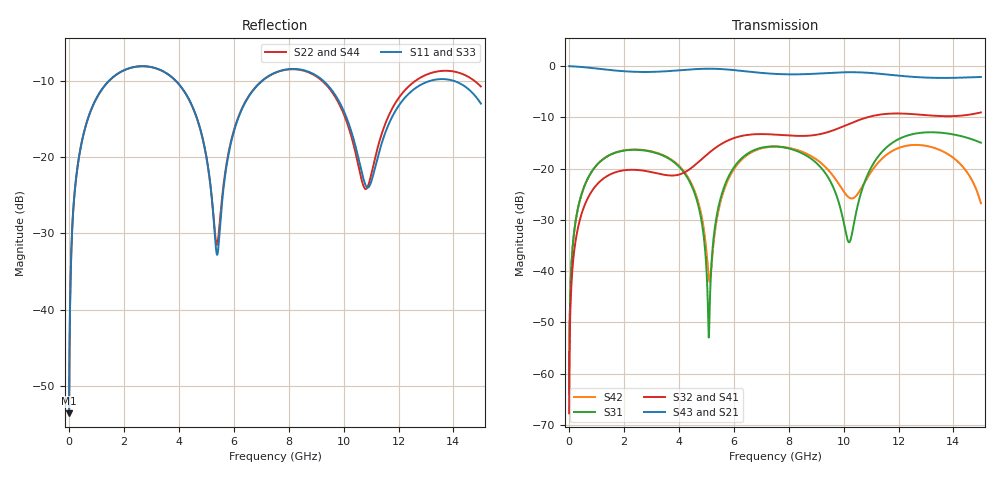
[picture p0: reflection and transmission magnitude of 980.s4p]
! Created with skrf 1.8.0 (http://scikit-rf.org).
# GHz S RI R 50.0
!freq ReS11 ImS11 ReS12 ImS12 ReS13 ImS13
! ReS14 ImS14
! ReS21 ImS21 ReS22 ImS22 ReS23 ImS23
! ReS24 ImS24
! ReS31 ImS31 ReS32 ImS32 ReS33 ImS33
! ReS34 ImS34
! ReS41 ImS41 ReS42 ImS42 ReS43 ImS43
! ReS44 ImS44
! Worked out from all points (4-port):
!   2499 points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, 5 MHz to 15 GHz, reference 50 ohm
!   strongest paths, dB at 5 MHz, 3.476 GHz, 7.19 GHz, 11.1 GHz, 15 GHz:
!     S43: 0.0, -1.0, -1.4, -1.4, -2.1
!     S21: 0.0, -1.0, -1.4, -1.4, -2.1
!     S32: -67.7, -21.2, -13.3, -9.7, -9.0
!     S41: -67.7, -21.2, -13.3, -9.7, -9.1
!     S31: -63.8, -17.6, -15.7, -18.9, -14.9
!     S42: -63.8, -17.5, -15.8, -19.9, -26.7
!   lowest |S11| = -53.6 dB at 5 MHz (marker M1), VSWR 1.00, Z = 50.2 + j0.127 ohm
!   |S11| at or under -10 dB: start of sweep to 1.456 GHz; 3.895 GHz to 7.034 GHz (3.139 GHz wide, 57.4 % of centre); 9.264 GHz to 13.15 GHz (3.883 GHz wide, 34.7 % of centre) (the widest 3 of 4)
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0.005  0.00166 0.00127  0.9983 -0.00324  8.29e-05 0.000638  -8.06e-05 -0.000403
       0.9983 -0.00324  0.00166 0.00127  -8.06e-05 -0.000403  8.29e-05 0.000638
       8.29e-05 0.000638  -8.06e-05 -0.000403  0.00166 0.00127  0.9983 -0.00324
       -8.06e-05 -0.000403  8.29e-05 0.000638  0.9983 -0.00324  0.00166 0.00127
0.3626511  0.0309 0.0949  0.9574 -0.2316  0.0142 0.043  -0.0119 -0.0266
           0.9574 -0.2316  0.0309 0.0949  -0.0119 -0.0266  0.0144 0.043
           0.0142 0.043  -0.0119 -0.0266  0.0309 0.0949  0.9574 -0.2316
           -0.0119 -0.0266  0.0144 0.043  0.9574 -0.2316  0.0309 0.0949
1.67  0.2985 0.1668  0.4873 -0.7637  0.1327 0.0518  -0.0916 0.00386
      0.4873 -0.7637  0.2979 0.1673  -0.0917 0.00397  0.1342 0.0494
      0.1327 0.0518  -0.0917 0.00397  0.2984 0.1668  0.4873 -0.7637
      -0.0916 0.00386  0.1342 0.0494  0.4873 -0.7637  0.2979 0.1672
5.089621  0.0353 -0.0721  -0.9121 -0.2386  0.00223 -0.000356  -0.0321 0.1382
          -0.9121 -0.2386  0.0386 -0.0696  -0.0307 0.1386  -0.00795 -0.00357
          0.00223 -0.000356  -0.0307 0.1386  0.0362 -0.071  -0.9122 -0.2383
          -0.0321 0.1382  -0.00795 -0.00357  -0.9122 -0.2383  0.0372 -0.069
8.340975  0.3763 -0.0283  -0.00147 0.8317  0.1219 -0.0822  0.2004 -0.0555
          -0.00147 0.8317  0.3739 -0.0299  0.2001 -0.0585  0.1206 -0.0909
          0.1219 -0.0822  0.2001 -0.0585  0.3768 -0.0294  -0.00179 0.8313
          0.2004 -0.0555  0.1206 -0.0909  -0.00179 0.8313  0.3752 -0.0285
11.12338  0.0728 0.0383  0.8506 -0.0332  0.0619 0.0985  -0.0261 -0.328
          0.8506 -0.0332  0.076 0.0569  -0.0318 -0.3277  0.0115 0.1027
          0.0619 0.0985  -0.0318 -0.3277  0.0731 0.0398  0.8504 -0.0332
          -0.0261 -0.328  0.0115 0.1027  0.8504 -0.0332  0.076 0.06
15  0.1953 -0.1105  -0.4375 -0.6531  -0.0639 -0.1674  -0.2842 0.2076
    -0.4375 -0.6531  0.2435 -0.1586  -0.2791 0.2165  0.0206 -0.0411
    -0.0639 -0.1674  -0.2791 0.2165  0.2066 -0.1118  -0.4318 -0.6534
    -0.2842 0.2076  0.0206 -0.0411  -0.4318 -0.6534  0.2518 -0.165
